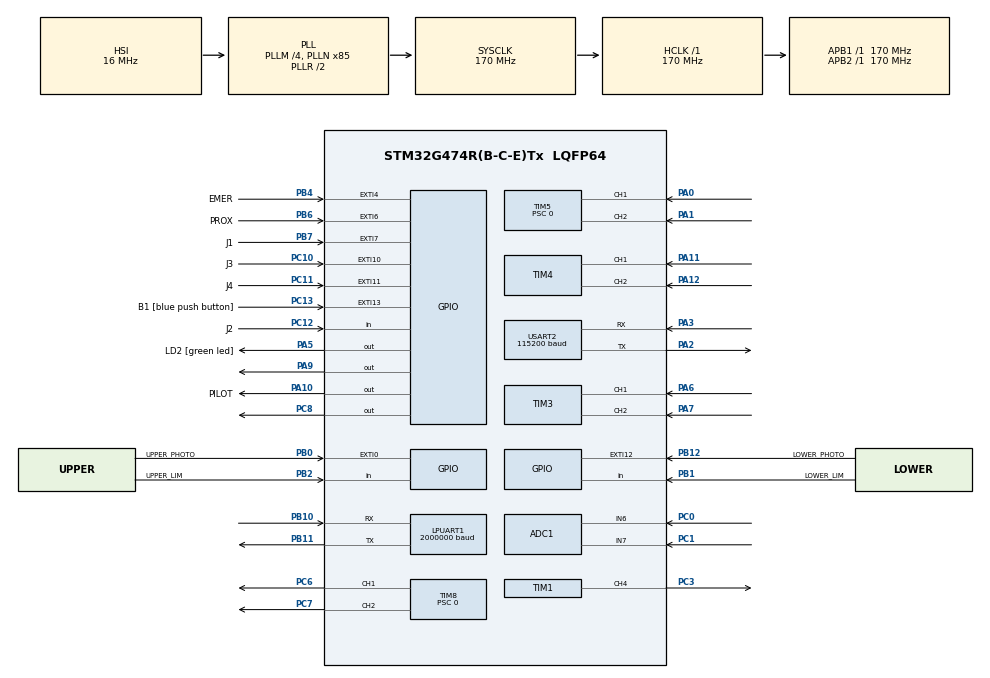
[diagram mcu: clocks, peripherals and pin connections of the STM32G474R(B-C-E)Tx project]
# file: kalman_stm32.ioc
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ADC1.Channel-1\#ChannelRegularConversion=ADC_CHANNEL_6
ADC1.Channel-2\#ChannelRegularConversion=ADC_CHANNEL_7
ADC1.ContinuousConvMode=ENABLE
ADC1.DMAContinuousRequests=ENABLE
ADC1.NbrOfConversion=2
ADC1.NbrOfConversionFlag=1
ADC1.OffsetNumber-1\#ChannelRegularConversion=ADC_OFFSET_NONE
ADC1.OffsetNumber-2\#ChannelRegularConversion=ADC_OFFSET_NONE
ADC1.Rank-1\#ChannelRegularConversion=1
ADC1.Rank-2\#ChannelRegularConversion=2
ADC1.SamplingTime-1\#ChannelRegularConversion=ADC_SAMPLETIME_640CYCLES_5
ADC1.SamplingTime-2\#ChannelRegularConversion=ADC_SAMPLETIME_640CYCLES_5
ADC1.master=1
ARM.CMSIS-DSP.1.15.0.CMSISJjDSP=Source
ARM.CMSIS.6.0.0.CMSISJjCORE=true
Dma.ADC1.0.Direction=DMA_PERIPH_TO_MEMORY
Dma.ADC1.0.EventEnable=DISABLE
Dma.ADC1.0.Instance=DMA1_Channel1
Dma.ADC1.0.MemDataAlignment=DMA_MDATAALIGN_HALFWORD
Dma.ADC1.0.MemInc=DMA_MINC_ENABLE
Dma.ADC1.0.Mode=DMA_CIRCULAR
Dma.ADC1.0.PeriphDataAlignment=DMA_PDATAALIGN_HALFWORD
Dma.ADC1.0.PeriphInc=DMA_PINC_DISABLE
Dma.ADC1.0.Polarity=HAL_DMAMUX_REQ_GEN_RISING
Dma.ADC1.0.Priority=DMA_PRIORITY_LOW
Dma.ADC1.0.RequestNumber=1
Dma.ADC1.0.SignalID=NONE
Dma.ADC1.0.SyncEnable=DISABLE
Dma.ADC1.0.SyncPolarity=HAL_DMAMUX_SYNC_NO_EVENT
Dma.ADC1.0.SyncRequestNumber=1
Dma.ADC1.0.SyncSignalID=NONE
Dma.LPUART1_RX.3.Direction=DMA_PERIPH_TO_MEMORY
Dma.LPUART1_RX.3.EventEnable=DISABLE
Dma.LPUART1_RX.3.Instance=DMA1_Channel4
Dma.LPUART1_RX.3.MemDataAlignment=DMA_MDATAALIGN_BYTE
Dma.LPUART1_RX.3.MemInc=DMA_MINC_ENABLE
Dma.LPUART1_RX.3.Mode=DMA_NORMAL
Dma.LPUART1_RX.3.PeriphDataAlignment=DMA_PDATAALIGN_BYTE
Dma.LPUART1_RX.3.PeriphInc=DMA_PINC_DISABLE
Dma.LPUART1_RX.3.Polarity=HAL_DMAMUX_REQ_GEN_RISING
Dma.LPUART1_RX.3.Priority=DMA_PRIORITY_LOW
Dma.LPUART1_RX.3.RequestNumber=1
Dma.LPUART1_RX.3.SignalID=NONE
Dma.LPUART1_RX.3.SyncEnable=DISABLE
Dma.LPUART1_RX.3.SyncPolarity=HAL_DMAMUX_SYNC_NO_EVENT
Dma.LPUART1_RX.3.SyncRequestNumber=1
Dma.LPUART1_RX.3.SyncSignalID=NONE
Dma.LPUART1_TX.4.Direction=DMA_MEMORY_TO_PERIPH
Dma.LPUART1_TX.4.EventEnable=DISABLE
Dma.LPUART1_TX.4.Instance=DMA1_Channel5
Dma.LPUART1_TX.4.MemDataAlignment=DMA_MDATAALIGN_BYTE
Dma.LPUART1_TX.4.MemInc=DMA_MINC_ENABLE
Dma.LPUART1_TX.4.Mode=DMA_NORMAL
Dma.LPUART1_TX.4.PeriphDataAlignment=DMA_PDATAALIGN_BYTE
Dma.LPUART1_TX.4.PeriphInc=DMA_PINC_DISABLE
Dma.LPUART1_TX.4.Polarity=HAL_DMAMUX_REQ_GEN_RISING
Dma.LPUART1_TX.4.Priority=DMA_PRIORITY_LOW
Dma.LPUART1_TX.4.RequestNumber=1
Dma.LPUART1_TX.4.SignalID=NONE
Dma.LPUART1_TX.4.SyncEnable=DISABLE
Dma.LPUART1_TX.4.SyncPolarity=HAL_DMAMUX_SYNC_NO_EVENT
Dma.LPUART1_TX.4.SyncRequestNumber=1
Dma.LPUART1_TX.4.SyncSignalID=NONE
Dma.Request0=ADC1
Dma.Request1=USART2_RX
Dma.Request2=USART2_TX
Dma.Request3=LPUART1_RX
Dma.Request4=LPUART1_TX
Dma.USART2_RX.1.Direction=DMA_PERIPH_TO_MEMORY
Dma.USART2_RX.1.EventEnable=DISABLE
Dma.USART2_RX.1.Instance=DMA1_Channel2
Dma.USART2_RX.1.MemDataAlignment=DMA_MDATAALIGN_BYTE
Dma.USART2_RX.1.MemInc=DMA_MINC_ENABLE
Dma.USART2_RX.1.Mode=DMA_NORMAL
Dma.USART2_RX.1.PeriphDataAlignment=DMA_PDATAALIGN_BYTE
Dma.USART2_RX.1.PeriphInc=DMA_PINC_DISABLE
Dma.USART2_RX.1.Polarity=HAL_DMAMUX_REQ_GEN_RISING
Dma.USART2_RX.1.Priority=DMA_PRIORITY_LOW
Dma.USART2_RX.1.RequestNumber=1
Dma.USART2_RX.1.SignalID=NONE
Dma.USART2_RX.1.SyncEnable=DISABLE
Dma.USART2_RX.1.SyncPolarity=HAL_DMAMUX_SYNC_NO_EVENT
Dma.USART2_RX.1.SyncRequestNumber=1
Dma.USART2_RX.1.SyncSignalID=NONE
Dma.USART2_TX.2.Direction=DMA_MEMORY_TO_PERIPH
Dma.USART2_TX.2.EventEnable=DISABLE
Dma.USART2_TX.2.Instance=DMA1_Channel3
Dma.USART2_TX.2.MemDataAlignment=DMA_MDATAALIGN_BYTE
Dma.USART2_TX.2.MemInc=DMA_MINC_ENABLE
Dma.USART2_TX.2.Mode=DMA_NORMAL
Dma.USART2_TX.2.PeriphDataAlignment=DMA_PDATAALIGN_BYTE
Dma.USART2_TX.2.PeriphInc=DMA_PINC_DISABLE
Dma.USART2_TX.2.Polarity=HAL_DMAMUX_REQ_GEN_RISING
Dma.USART2_TX.2.Priority=DMA_PRIORITY_LOW
Dma.USART2_TX.2.RequestNumber=1
Dma.USART2_TX.2.SignalID=NONE
Dma.USART2_TX.2.SyncEnable=DISABLE
Dma.USART2_TX.2.SyncPolarity=HAL_DMAMUX_SYNC_NO_EVENT
Dma.USART2_TX.2.SyncRequestNumber=1
Dma.USART2_TX.2.SyncSignalID=NONE
LPUART1.BaudRate=2000000
Mcu.Family=STM32G4
Mcu.Name=STM32G474R(B-C-E)Tx
Mcu.Package=LQFP64
NVIC.DMA1_Channel1_IRQn=true\:0\:0\:false\:false\:true\:false\:true\:true
NVIC.DMA1_Channel2_IRQn=true\:0\:0\:false\:false\:true\:false\:true\:true
NVIC.DMA1_Channel3_IRQn=true\:0\:0\:false\:false\:true\:false\:true\:true
NVIC.DMA1_Channel4_IRQn=true\:0\:0\:false\:false\:true\:false\:true\:true
NVIC.DMA1_Channel5_IRQn=true\:0\:0\:false\:false\:true\:false\:true\:true
NVIC.EXTI0_IRQn=true\:0\:0\:false\:false\:true\:true\:true\:true
NVIC.EXTI15_10_IRQn=true\:0\:0\:false\:false\:true\:true\:true\:true
NVIC.EXTI4_IRQn=true\:0\:0\:false\:false\:true\:true\:true\:true
NVIC.EXTI9_5_IRQn=true\:0\:0\:false\:false\:true\:true\:true\:true
NVIC.LPUART1_IRQn=true\:0\:0\:false\:false\:true\:true\:true\:true
NVIC.PriorityGroup=NVIC_PRIORITYGROUP_4
NVIC.TIM1_UP_TIM16_IRQn=true\:0\:0\:false\:false\:true\:true\:true\:true
NVIC.TIM2_IRQn=true\:0\:0\:false\:false\:true\:true\:true\:true
NVIC.TIM3_IRQn=true\:0\:0\:false\:false\:true\:true\:true\:true
NVIC.TIM4_IRQn=true\:0\:0\:false\:false\:true\:true\:true\:true
NVIC.USART2_IRQn=true\:0\:0\:false\:false\:true\:true\:true\:true
PA0.Signal=S_TIM5_CH1
PA1.Signal=S_TIM5_CH2
PA10.GPIO_Label=PILOT
PA10.Signal=GPIO_Output
PA11.Signal=S_TIM4_CH1
PA12.Signal=S_TIM4_CH2
PA13.GPIO_Label=T_SWDIO
PA13.Signal=SYS_JTMS-SWDIO
PA14.GPIO_Label=T_SWCLK
PA14.Signal=SYS_JTCK-SWCLK
PA2.Mode=Asynchronous
PA2.Signal=USART2_TX
PA3.Mode=Asynchronous
PA3.Signal=USART2_RX
PA5.GPIO_Label=LD2 [green led]
PA5.Signal=GPIO_Output
PA6.Signal=S_TIM3_CH1
PA7.Signal=S_TIM3_CH2
PA9.Signal=GPIO_Output
PB0.GPIO_Label=UPPER_PHOTO
PB0.Signal=GPXTI0
PB1.GPIO_Label=LOWER_LIM
PB1.GPIO_PuPd=GPIO_PULLDOWN
PB1.Signal=GPIO_Input
PB10.Mode=Asynchronous
PB10.Signal=LPUART1_RX
PB11.Mode=Asynchronous
PB11.Signal=LPUART1_TX
PB12.GPIO_Label=LOWER_PHOTO
PB12.Signal=GPXTI12
PB2.GPIO_Label=UPPER_LIM
PB2.GPIO_PuPd=GPIO_PULLDOWN
PB2.Signal=GPIO_Input
PB3.GPIO_Label=T_SWO
PB3.Signal=SYS_JTDO-SWO
PB4.GPIO_Label=EMER
PB4.GPIO_ModeDefaultEXTI=GPIO_MODE_IT_FALLING
PB4.Signal=GPXTI4
PB6.GPIO_Label=PROX
PB6.GPIO_PuPd=GPIO_PULLUP
PB6.Signal=GPXTI6
PB7.GPIO_Label=J1
PB7.GPIO_PuPd=GPIO_PULLDOWN
PB7.Signal=GPXTI7
PC0.Mode=IN6-Single-Ended
PC0.Signal=ADC1_IN6
PC1.Mode=IN7-Single-Ended
PC1.Signal=ADC1_IN7
PC10.GPIO_Label=J3
PC10.GPIO_PuPd=GPIO_PULLDOWN
PC10.Signal=GPXTI10
PC11.GPIO_Label=J4
PC11.GPIO_PuPd=GPIO_PULLDOWN
PC11.Signal=GPXTI11
PC12.GPIO_Label=J2
PC12.GPIO_PuPd=GPIO_PULLDOWN
PC12.Signal=GPIO_Input
PC13.GPIO_Label=B1 [blue push button]
PC13.Signal=GPXTI13
PC14-OSC32_IN.GPIO_Label=RCC_OSC32_IN
PC14-OSC32_IN.Signal=RCC_OSC32_IN
PC15-OSC32_OUT.GPIO_Label=RCC_OSC32_OUT
PC15-OSC32_OUT.Signal=RCC_OSC32_OUT
PC3.Signal=S_TIM1_CH4
PC6.Signal=S_TIM8_CH1
PC7.Signal=S_TIM8_CH2
PC8.Signal=GPIO_Output
PF0-OSC_IN.GPIO_Label=RCC_OSC_IN
PF0-OSC_IN.Signal=RCC_OSC_IN
PF1-OSC_OUT.GPIO_Label=RCC_OSC_OUT
PF1-OSC_OUT.Signal=RCC_OSC_OUT
ProjectManager.HeapSize=0x200
ProjectManager.StackSize=0x400
ProjectManager.TargetToolchain=STM32CubeIDE
RCC.ADC12Freq_Value=170000000
RCC.ADC345Freq_Value=170000000
RCC.AHBFreq_Value=170000000
RCC.APB1Freq_Value=170000000
RCC.APB1TimFreq_Value=170000000
RCC.APB2Freq_Value=170000000
RCC.APB2TimFreq_Value=170000000
RCC.CortexFreq_Value=170000000
RCC.EXTERNAL_CLOCK_VALUE=12288000
RCC.HCLKFreq_Value=170000000
RCC.HSE_VALUE=24000000
RCC.HSI48_VALUE=48000000
RCC.HSI_VALUE=16000000
RCC.LSE_VALUE=32768
RCC.PLLM=RCC_PLLM_DIV4
RCC.PLLN=85
RCC.RTCClockSelection=RCC_RTCCLKSOURCE_LSE
RCC.SYSCLKFreq_VALUE=170000000
RCC.SYSCLKSource=RCC_SYSCLKSOURCE_PLLCLK
RCC.USBFreq_Value=170000000
RCC.VCOOutputFreq_Value=340000000
SH.S_TIM1_CH4.0=TIM1_CH4,PWM Generation4 CH4
SH.S_TIM3_CH1.0=TIM3_CH1,Encoder_Interface
SH.S_TIM3_CH2.0=TIM3_CH2,Encoder_Interface
SH.S_TIM4_CH1.0=TIM4_CH1,Encoder_Interface
SH.S_TIM4_CH2.0=TIM4_CH2,Encoder_Interface
SH.S_TIM5_CH1.0=TIM5_CH1,Encoder_Interface
SH.S_TIM5_CH2.0=TIM5_CH2,Encoder_Interface
SH.S_TIM8_CH1.0=TIM8_CH1,PWM Generation1 CH1
SH.S_TIM8_CH2.0=TIM8_CH2,PWM Generation2 CH2
TIM1.Channel-PWM\ Generation4\ CH4=TIM_CHANNEL_4
TIM16.PeriodNoDither=1145
TIM16.Prescaler=169
TIM2.PeriodNoDither=999
TIM2.Prescaler=169
TIM3.EncoderMode=TIM_ENCODERMODE_TI12
TIM4.EncoderMode=TIM_ENCODERMODE_TI12
TIM5.EncoderMode=TIM_ENCODERMODE_TI12
TIM5.PeriodNoDither=65535
TIM5.Prescaler=0
TIM8.Channel-PWM\ Generation1\ CH1=TIM_CHANNEL_1
TIM8.Channel-PWM\ Generation2\ CH2=TIM_CHANNEL_2
TIM8.ClockDivision=TIM_CLOCKDIVISION_DIV2
TIM8.Prescaler=0
USART2.BaudRate=115200
USART2.Parity=PARITY_EVEN
USART2.VirtualMode-Asynchronous=VM_ASYNC
USART2.WordLength=WORDLENGTH_9B
VP_ARM.CMSIS-DSP_VS_CMSISJjDSP_1.15.0_1.15.0.Mode=CMSISJjDSP
VP_ARM.CMSIS_VS_CMSISJjCORE_6.0.0_6.0.0.Mode=CMSISJjCORE
VP_SYS_VS_DBSignals.Mode=DisableDeadBatterySignals
VP_TIM16_VS_ClockSourceINT.Mode=Enable_Timer
VP_TIM16_VS_OPM.Mode=OPM_bit
VP_TIM2_VS_ClockSourceINT.Mode=Internal
VP_TIM8_VS_ClockSourceINT.Mode=Internal
board=NUCLEO-G474RE

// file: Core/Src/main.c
/* USER CODE BEGIN Header */
/**
 ******************************************************************************
 * @file           : main.c
 * @brief          : Main program body
 ******************************************************************************
 * @attention
 *
 * Copyright (c) 2025 STMicroelectronics.
 * All rights reserved.
 *
 * This software is licensed under terms that can be found in the LICENSE file
 * in the root directory of this software component.
 * If no LICENSE file comes with this software, it is provided AS-IS.
 *
 ******************************************************************************
 */
/* USER CODE END Header */
#include "main.h"
#include "adc.h"
#include "dma.h"
#include "usart.h"
#include "tim.h"
#include "gpio.h"

/* USER CODE BEGIN Includes */
#include "motor_config.h"
/* USER CODE END Includes */

void SystemClock_Config(void);
/* USER CODE BEGIN PFP */
float vin, square, square_pwm, estimated_velocity, command_pwm;
float stead;
/* USER CODE END PFP */

int main(void) {

	/* MCU Configuration--------------------------------------------------------*/

	/* Reset of all peripherals, Initializes the Flash interface and the Systick. */
	HAL_Init();

	/* Configure the system clock */
	SystemClock_Config();

	/* Initialize all configured peripherals */
	MX_GPIO_Init();
	MX_DMA_Init();
	MX_ADC1_Init();
	MX_TIM2_Init();
	MX_TIM3_Init();
	MX_TIM4_Init();
	MX_TIM5_Init();
	MX_TIM8_Init();
	MX_USART2_UART_Init();
	MX_TIM16_Init();
	MX_TIM1_Init();
	MX_LPUART1_UART_Init();
	/* USER CODE BEGIN 2 */
	motor_begin();
	/* USER CODE END 2 */

	/* Infinite loop */
	while (1) {

	}
}

void SystemClock_Config(void) {
	RCC_OscInitTypeDef RCC_OscInitStruct = { 0 };
	RCC_ClkInitTypeDef RCC_ClkInitStruct = { 0 };

	/** Configure the main internal regulator output voltage
	 */
	HAL_PWREx_ControlVoltageScaling(PWR_REGULATOR_VOLTAGE_SCALE1_BOOST);

	/** Initializes the RCC Oscillators according to the specified parameters
	 * in the RCC_OscInitTypeDef structure.
	 */
	RCC_OscInitStruct.OscillatorType = RCC_OSCILLATORTYPE_HSI;
	RCC_OscInitStruct.HSIState = RCC_HSI_ON;
	RCC_OscInitStruct.HSICalibrationValue = RCC_HSICALIBRATION_DEFAULT;
	RCC_OscInitStruct.PLL.PLLState = RCC_PLL_ON;
	RCC_OscInitStruct.PLL.PLLSource = RCC_PLLSOURCE_HSI;
	RCC_OscInitStruct.PLL.PLLM = RCC_PLLM_DIV4;
	RCC_OscInitStruct.PLL.PLLN = 85;
	RCC_OscInitStruct.PLL.PLLP = RCC_PLLP_DIV2;
	RCC_OscInitStruct.PLL.PLLQ = RCC_PLLQ_DIV2;
	RCC_OscInitStruct.PLL.PLLR = RCC_PLLR_DIV2;
	if (HAL_RCC_OscConfig(&RCC_OscInitStruct) != HAL_OK) {
		Error_Handler();
	}

	/** Initializes the CPU, AHB and APB buses clocks
	 */
	RCC_ClkInitStruct.ClockType = RCC_CLOCKTYPE_HCLK | RCC_CLOCKTYPE_SYSCLK
			| RCC_CLOCKTYPE_PCLK1 | RCC_CLOCKTYPE_PCLK2;
	RCC_ClkInitStruct.SYSCLKSource = RCC_SYSCLKSOURCE_PLLCLK;
	RCC_ClkInitStruct.AHBCLKDivider = RCC_SYSCLK_DIV1;
	RCC_ClkInitStruct.APB1CLKDivider = RCC_HCLK_DIV1;
	RCC_ClkInitStruct.APB2CLKDivider = RCC_HCLK_DIV1;

	if (HAL_RCC_ClockConfig(&RCC_ClkInitStruct, FLASH_LATENCY_4) != HAL_OK) {
		Error_Handler();
	}
}

/* USER CODE BEGIN 4 */
void HAL_TIM_PeriodElapsedCallback(TIM_HandleTypeDef *htim) {
	if (htim == &htim2) {
		QEI_get_diff_count(&encoder);
		QEI_compute_data(&encoder);

		square_pwm = SIGNAL_generate(&square_sg_pwm, 1e-3);
		square = SIGNAL_generate(&square_sg, 1e-3);

		vin = mapf(command_pwm, -65535.0, 65535.0, -12.0, 12.0);

		estimated_velocity = MotorKalman_Estimate(&motor_kalman, vin,
				encoder.rads);
		stead = SteadyStateKalmanFilter(&paweekorn_kalman, vin, encoder.rads);

		command_pwm = PWM_Satuation(
				PID_CONTROLLER_Compute(&velocity_pid,
						square - estimated_velocity), 65535.0, -65535.0);

		MDXX_set_range(&motor, 2000, command_pwm);

	}
}
/* USER CODE END 4 */

void Error_Handler(void) {
	__disable_irq();
	while (1) {
	}
}
